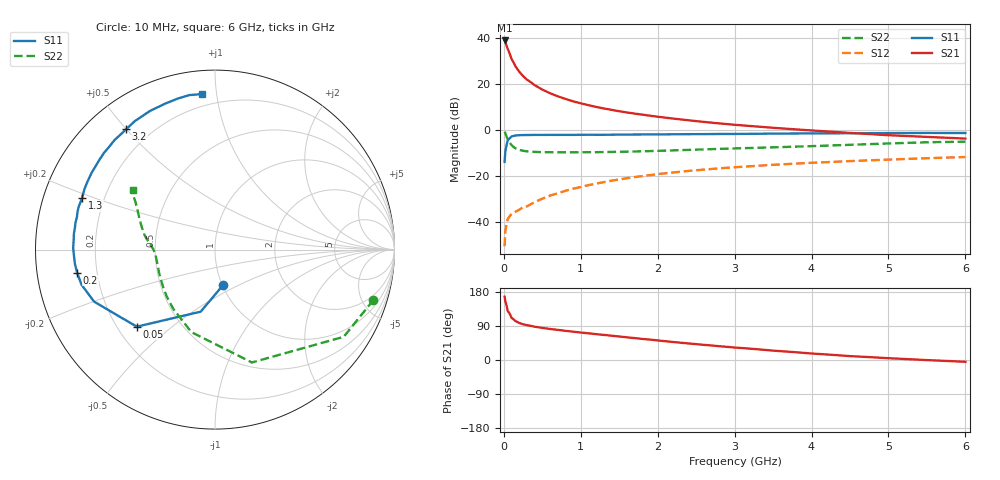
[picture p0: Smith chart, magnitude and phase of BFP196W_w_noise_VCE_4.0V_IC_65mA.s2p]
! (c) 2017  Infineon Technologies AG, Munich
! Infineon Technologies  Discrete & RF Semiconductors
! BFP196W
! VCE =  4.0 V,  IC =  65 mA
! Common Emitter S-Parameters:  Jan 2017
# GHz  S  MA  R  50
!  f  S11  S21  S12  S22
! GHz  MAG  ANG  MAG  ANG  MAG  ANG  MAG  ANG
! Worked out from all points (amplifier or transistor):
!   77 points, 10 MHz to 6 GHz, reference 50 ohm
!   highest |S21| = 39.0 dB at 10 MHz (marker M1)
!   |S21| within 3 dB of that: start of sweep to 43.02 MHz
!   unconditionally stable (mu >= 1): 602.7 MHz to 3.334 GHz
!   at 130 MHz: K = 0.50, MSG = 32.5 dB, |S12| = -35.9 dB
!   at 2.2 GHz: K = 1.03, MAG = 10.6 dB, |S12| = -18.4 dB
!   at 6 GHz: K = 0.95, MSG = 4.0 dB, |S12| = -11.7 dB
!   lowest NFmin = 1.51 dB at 450 MHz
!   S11 on the Smith chart (normalised r, x): 10 MHz: 1.00, -0.42; 50 MHz: 0.28, -0.38; 200 MHz: 0.13, -0.08; 1.3 GHz: 0.12, +0.18; 3.2 GHz: 0.11, +0.50; 6 GHz: 0.13, +0.91
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0.01  0.2045 -77.8  89.63 167.1  0.003 73.9  0.9263 -17.6
0.02  0.355 -103.0  83.05 154.4  0.0066 74.2  0.8664 -34.1
0.05  0.6116 -135.4  59.03 129.2  0.0116 51.6  0.6617 -71.9
0.1  0.7334 -156.7  35.46 110.9  0.0151 44.3  0.4781 -106.0
0.15  0.7691 -165.3  24.7 102.8  0.0168 44.4  0.4044 -125.0
0.2  0.7789 -170.5  18.76 97.8  0.0186 47.5  0.3742 -136.2
0.25  0.7844 -174.1  15.11 94.3  0.0211 49.6  0.3565 -144.1
0.3  0.7858 -176.7  12.62 91.8  0.022 53.4  0.3466 -149.6
0.4  0.7904 179.3  9.542 87.8  0.0271 57.9  0.3378 -157.0
0.5  0.7891 176.3  7.638 84.7  0.0324 59.8  0.333 -161.8
0.6  0.7911 173.6  6.388 81.9  0.0377 62.1  0.3322 -165.1
0.7  0.7899 171.4  5.469 79.6  0.0424 63.6  0.3304 -167.6
0.9  0.7903 166.8  4.251 74.7  0.0533 64.6  0.331 -171.2
1.1  0.7962 162.8  3.504 70.4  0.0638 64.9  0.3324 -173.9
1.3  0.7945 158.8  2.971 66.2  0.0742 64.1  0.3346 -176.3
1.6  0.8037 153.3  2.433 59.8  0.0902 62.4  0.3413 -179.5
2.1  0.8127 144.1  1.876 49.6  0.1155 58.2  0.3596 175.8
3.1  0.8309 128.0  1.273 31.5  0.1602 49.0  0.4057 167.2
3.2  0.8333 126.5  1.235 29.9  0.1642 48.1  0.4101 166.3
4.1  0.8537 113.9  0.963 15.9  0.1987 40.0  0.456 157.5
5.1  0.8673 103.1  0.765 3.8  0.2325 31.9  0.5206 148.7
6  0.8694 94.8  0.657 -4.8  0.2613 24.8  0.5636 144.2
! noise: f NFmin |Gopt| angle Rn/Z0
0.45  1.51  0.53  -175  0.06
0.9  1.64  0.57  -170  0.07
1.9  2.49  0.7  -148  0.18
2.4  2.88  0.74  -144  0.28
